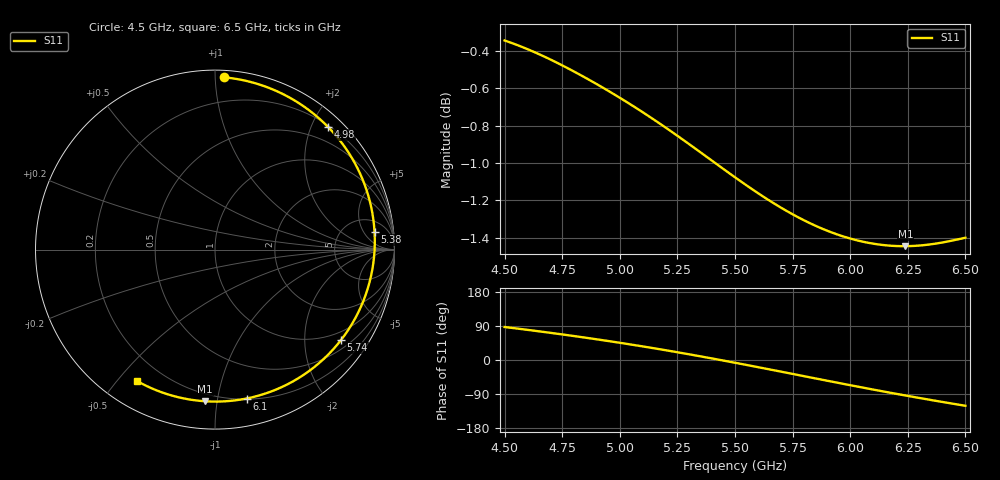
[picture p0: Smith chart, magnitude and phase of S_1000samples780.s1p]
! TOUCHSTONE file generated by CST MICROWAVE STUDIO
! Date and time: Sat Oct 29 08:43:06 2022
! Project name: L.cst
! Parameters = {Di=1.27; Epsilon_r=1.56; InnerDiameter=1.27; Length=2; Lf=10; Lg=60; OuterConductorThickness=0.2921; OuterDiameter=3.6; Wf=3; Wp=41.2; de=1.5; df=6.8; g=0.8; gx=3.88217; gy=1.86584; h=2.34; hf=1.524; px=8.88833; py=8.56705; w=9.7; wx=5.00616; wy=6.70121}
! Header version: 2018
! Port assignment regex: !\s*Touchstone port\s*([0-9]+)\s*=\s*(CST MWS port|CST DS port)\s*([0-9]+|Zmin|Zmax)\s*\(\"(.*)\"\)(\s*mode\s*([0-9]+))?.*
! Touchstone port assignment:
! Touchstone port 1 = CST MWS port 1 ("")
# GHz S DB R 50
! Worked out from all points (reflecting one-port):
!   101 points, 4.5 GHz to 6.5 GHz, reference 50 ohm
!   lowest |S11| = -1.4 dB at 6.24 GHz (marker M1), VSWR 12.05, Z = 7.75 - j46.3 ohm
!   phase of S11 starts at 87 deg and turns -208 deg over the sweep
!   S11 on the Smith chart (normalised r, x): 4.5 GHz: 0.04, +1.05; 4.98 GHz: 0.23, +2.27; 5.38 GHz: 9, +9; 5.74 GHz: 0.74, -2.95; 6.1 GHz: 0.21, -1.21; 6.5 GHz: 0.11, -0.56
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4.5  -0.34 87.1
4.64  -0.41 76.4
4.76  -0.48 66.7
4.88  -0.56 56.4
4.98  -0.64 47.3
5  -0.65 45.4
5.06  -0.70 39.7
5.14  -0.76 31.8
5.26  -0.86 19.4
5.32  -0.92 12.9
5.38  -0.97 6.3
5.44  -1.02 -0.4
5.5  -1.08 -7.3
5.56  -1.13 -14.2
5.62  -1.18 -21.3
5.68  -1.22 -28.4
5.74  -1.27 -35.5
5.76  -1.28 -37.9
5.82  -1.32 -45.1
5.88  -1.35 -52.3
5.94  -1.38 -59.4
6  -1.40 -66.5
6.1  -1.43 -78.0
6.16  -1.44 -84.8
6.24  -1.44 -93.7
6.26  -1.44 -95.9
6.38  -1.43 -108.6
6.5  -1.40 -120.8
